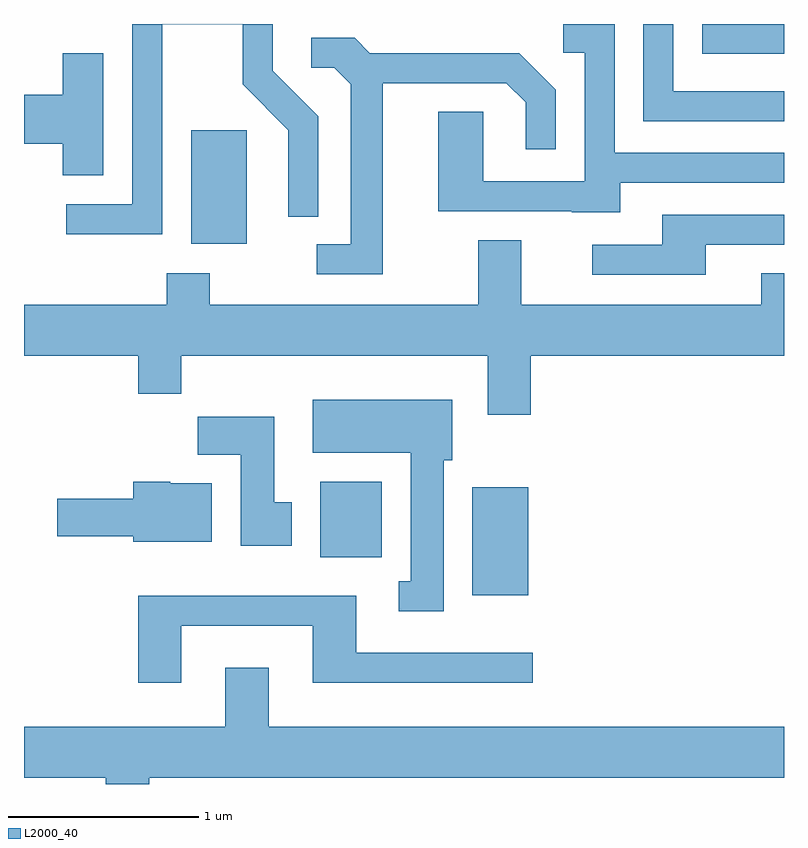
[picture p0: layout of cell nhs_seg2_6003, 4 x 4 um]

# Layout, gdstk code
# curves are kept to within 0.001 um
import gdstk
lib = gdstk.Library(unit=1e-6, precision=1e-09)
def R(c, l, rs):  # rectangles x0, y0, x1, y1
    for r in rs: c.add(gdstk.rectangle(r[:2], r[2:], *l))
def P(c, l, *ps):  # polygons
    for p in ps: c.add(gdstk.Polygon(p, *l))
L2000_40 = (2000, 40)

nhs_seg2_6003 = lib.new_cell('nhs_seg2_6003')
R(nhs_seg2_6003, L2000_40, [(363.971,1084.796,364.264,1085.364), (363.171,1084.996,363.494,1085.394), (362.491,1086.646,362.784,1087.244), (365.181,1087.646,365.611,1087.802)])
P(nhs_seg2_6003, L2000_40, [(364.749,1086.966),(365.611,1086.966),(365.611,1087.124),(364.719,1087.124),(364.719,1087.802),(364.448,1087.802),(364.448,1087.651),(364.561,1087.651),(364.561,1086.974),(364.029,1086.974),(364.029,1087.339),(363.791,1087.339),(363.791,1086.816),(364.495,1086.816),(364.495,1086.811),(364.749,1086.811)],
  [(365.611,1087.449),(365.029,1087.449),(365.029,1087.802),(364.871,1087.802),(364.871,1087.291),(365.611,1087.291)],
  [(364.213,1087.802),(363.673,1087.802),(363.674,1087.801),(364.212,1087.801)],
  [(362.339,1087.801),(362.761,1087.801),(362.761,1087.484),(363.001,1087.244),(363.001,1086.788),(363.159,1086.788),(363.159,1087.317),(362.919,1087.557),(362.919,1087.802),(361.833,1087.802),(362.181,1087.801),(362.181,1086.854),(361.833,1086.854),(361.833,1086.696),(362.339,1086.696)],
  [(363.499,1087.491),(364.149,1087.491),(364.251,1087.389),(364.251,1087.143),(364.409,1087.143),(364.409,1087.457),(364.217,1087.649),(363.432,1087.649),(363.352,1087.729),(363.123,1087.729),(363.123,1087.571),(363.244,1087.571),(363.331,1087.484),(363.331,1086.644),(363.153,1086.644),(363.153,1086.486),(363.499,1086.486)],
  [(362.029,1087.649),(361.816,1087.649),(361.816,1087.429),(361.611,1087.429),(361.611,1087.171),(361.816,1087.171),(361.816,1087.006),(362.029,1087.006)],
  [(365.199,1086.641),(365.611,1086.641),(365.611,1086.799),(364.971,1086.799),(364.971,1086.639),(364.603,1086.639),(364.603,1086.481),(365.199,1086.481)],
  [(364.279,1086.056),(365.611,1086.056),(365.611,1086.489),(365.491,1086.489),(365.491,1086.324),(364.229,1086.324),(364.229,1086.664),(364.001,1086.664),(364.001,1086.324),(362.589,1086.324),(362.589,1086.489),(362.361,1086.489),(362.361,1086.324),(361.611,1086.324),(361.611,1086.056),(362.211,1086.056),(362.211,1085.856),(362.439,1085.856),(362.439,1086.056),(364.051,1086.056),(364.051,1085.746),(364.279,1085.746)],
  [(363.819,1085.506),(363.864,1085.506),(363.864,1085.824),(363.131,1085.824),(363.131,1085.546),(363.646,1085.546),(363.646,1084.869),(363.583,1084.869),(363.583,1084.711),(363.819,1084.711)],
  [(363.019,1085.284),(362.929,1085.284),(362.929,1085.734),(362.526,1085.734),(362.526,1085.536),(362.751,1085.536),(362.751,1085.056),(363.019,1085.056)],
  [(362.599,1085.384),(362.38,1085.384),(362.38,1085.394),(362.186,1085.394),(362.186,1085.304),(361.786,1085.304),(361.786,1085.106),(362.186,1085.106),(362.186,1085.076),(362.599,1085.076)],
  [(362.439,1084.636),(363.131,1084.636),(363.131,1084.336),(364.288,1084.336),(364.288,1084.494),(363.359,1084.494),(363.359,1084.794),(362.211,1084.794),(362.211,1084.336),(362.439,1084.336)],
  [(362.269,1083.836),(365.611,1083.836),(365.611,1084.104),(362.899,1084.104),(362.899,1084.414),(362.671,1084.414),(362.671,1084.104),(361.611,1084.104),(361.611,1083.836),(362.041,1083.836),(362.041,1083.802),(362.269,1083.802)])

lib.write_gds('nhs_seg2_6003.gds')
